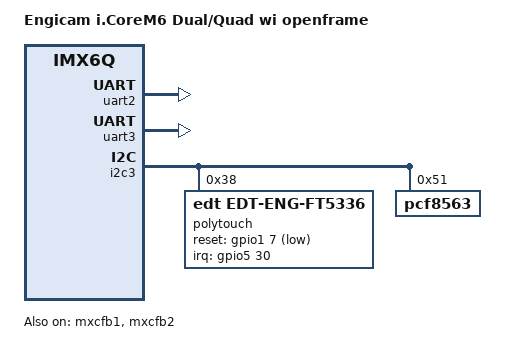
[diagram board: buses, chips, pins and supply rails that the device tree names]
/*
 * Copyright (C) 2013 Freescale Semiconductor, Inc.
 *
 * This program is free software; you can redistribute it and/or modify
 * it under the terms of the GNU General Public License version 2 as
 * published by the Free Software Foundation.
 */

/dts-v1/;

#include "imx6q.dtsi"
#include "icorem6qdl.dtsi"

/ {
	model = "Engicam i.CoreM6 Dual/Quad wi openframe";
	compatible = "fsl,imx6-icore", "fsl,imx6q";
};

&ldb {
	ipu_id = <0>;
	sec_ipu_id = <0>;
};

&mxcfb1 {
	status = "okay";
};

&mxcfb2 {
	status = "okay";
};

&uart2 {
	status = "okay";
};

&uart3 {
	fsl,uart-has-rtscts;
	status = "okay";
};


&i2c3 {
	
	polytouch: edt-ft5x06@38 {
		compatible = "edt,edt-eng-ft5336";
		reg = <0x38>;
		pinctrl-names = "default";		
		pinctrl-0 = <&pinctrl_edt_ft5x06>;
		interrupt-parent = <&gpio5>;
		interrupts = <30 0>;	
		reset-gpios = <&gpio1 7 1>;
	};

	
	// Optional RTC
	pcf8563: rtc@51 {
		compatible = "pcf8563";
		reg = <0x51>;
	};

};


&iomuxc {
	touchpanel{
		pinctrl_edt_ft5x06:  edt_ft5x06-tsgrp  {
			fsl,pins = <
				MX6QDL_PAD_CSI0_DAT12__GPIO5_IO30 	0x1b0b0 /*interrupt*/ 
				MX6QDL_PAD_GPIO_7__GPIO1_IO07		0x1b0b0 /*reset edt*/
			>;
		};
	};
};

